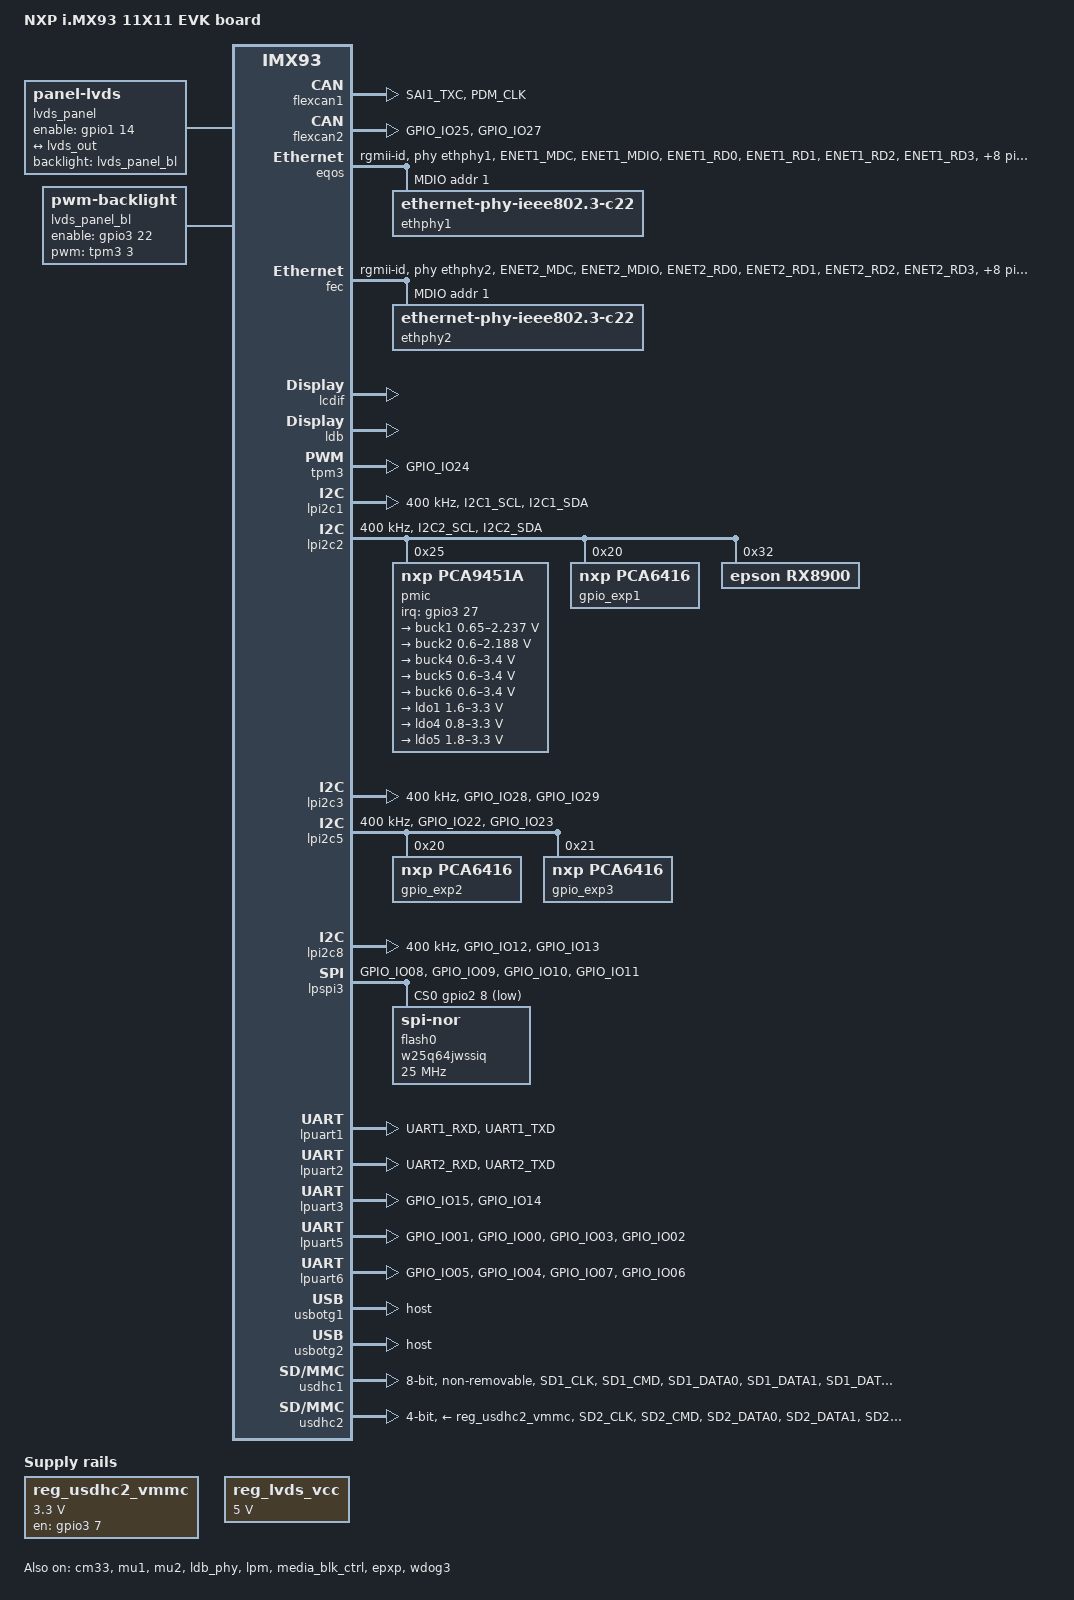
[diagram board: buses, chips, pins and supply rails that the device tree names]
// SPDX-License-Identifier: (GPL-2.0+ OR MIT)
/*
 * Copyright 2022 NXP
 */

/dts-v1/;

#include "imx93.dtsi"

&ele_fw2 {
	memory-region = <&ele_reserved>;
};

/ {

	model = "NXP i.MX93 11X11 EVK board";
	compatible = "fsl,imx93-11x11-evk", "fsl,imx93";

	aliases {
		serial0 = &lpuart1;
		serial1 = &lpuart2;
		serial2 = &lpuart3;
		serial3 = &lpuart4;
		serial4 = &lpuart5;
		serial5 = &lpuart6;
		serial6 = &lpuart7;
		serial7 = &lpuart8;

		rtc0 = &rx8900;
		rtc1 = &bbnsm_rtc;
	};

	chosen {
		stdout-path = &lpuart1;
	};

	reserved-memory {
		#address-cells = <2>;
		#size-cells = <2>;
		ranges;

		linux,cma {
			compatible = "shared-dma-pool";
			reusable;
			alloc-ranges = <0 0x80000000 0 0x40000000>;
			size = <0 0x10000000>;
			linux,cma-default;
		};

		ethosu_mem: ethosu_region@C0000000 {
			compatible = "shared-dma-pool";
			reusable;
			reg = <0x0 0xC0000000 0x0 0x10000000>;
		};

		vdev0vring0: vdev0vring0@a4000000 {
			reg = <0 0xa4000000 0 0x8000>;
			no-map;
		};

		vdev0vring1: vdev0vring1@a4008000 {
			reg = <0 0xa4008000 0 0x8000>;
			no-map;
		};

		vdev1vring0: vdev1vring0@a4010000 {
			reg = <0 0xa4010000 0 0x8000>;
			no-map;
		};

		vdev1vring1: vdev1vring1@a4018000 {
			reg = <0 0xa4018000 0 0x8000>;
			no-map;
		};

		rsc_table: rsc-table@2021e000 {
			reg = <0 0x2021e000 0 0x1000>;
			no-map;
		};

		vdevbuffer: vdevbuffer@a4020000 {
			compatible = "shared-dma-pool";
			reg = <0 0xa4020000 0 0x100000>;
			no-map;
		};

		ele_reserved: ele-reserved@a4120000 {
			compatible = "shared-dma-pool";
			reg = <0 0xa4120000 0 0x100000>;
			no-map;
		};
	};

	ethosu {
		compatible = "arm,ethosu";
		fsl,cm33-proc = <&cm33>;
		memory-region = <&ethosu_mem>;
		power-domains = <&mlmix>;
	};

	reg_usdhc2_vmmc: regulator-usdhc2 {
		compatible = "regulator-fixed";
		pinctrl-names = "default";
		pinctrl-0 = <&pinctrl_reg_usdhc2_vmmc>;
		regulator-name = "VSD_3V3";
		regulator-min-microvolt = <3300000>;
		regulator-max-microvolt = <3300000>;
		gpio = <&gpio3 7 GPIO_ACTIVE_HIGH>;
		off-on-delay-us = <12000>;
		enable-active-high;
	};

	reg_lvds_vcc: regulator-lvds {
		compatible = "regulator-fixed";
		pinctrl-names = "default";
		pinctrl-0 = <&pinctrl_lvds_vcc>, <&pinctrl_bklt_vcc>;
		regulator-name = "lvds_vcc";
		regulator-min-microvolt = <5000000>;
		regulator-max-microvolt = <5000000>;
	};

	lvds_panel {
		compatible = "panel-lvds";
		width-mm = <152>;
		height-mm = <91>;
		backlight = <&lvds_panel_bl>;
		enable-gpios = <&gpio1 14 GPIO_ACTIVE_HIGH>;
		data-mapping = "vesa-24";

		panel-timing {
			clock-frequency = <33000000>;
			hactive = <760>;
			vactive = <480>;
			hsync-len = <72>;
			hfront-porch = <24>;
			hback-porch = <96>;
			vsync-len = <7>;
			vfront-porch = <10>;
			vback-porch = <3>;
			de-active = <1>;
		};

		port {
			panel_in_lvds: endpoint {
				remote-endpoint = <&lvds_out>;
			};
		};
	};

	lvds_panel_bl: bl {
		compatible = "pwm-backlight";
		pwms = <&tpm3 3 1000000 0>;
		enable-gpios = <&gpio3 22 GPIO_ACTIVE_HIGH>;
		brightness-levels = <0 25 50 75 100>;
		default-brightness-level = <100>;
	};
};

&cm33 {
	mbox-names = "tx", "rx", "rxdb";
	mboxes = <&mu1 0 1>,
		 <&mu1 1 1>,
		 <&mu1 3 1>;
	memory-region = <&vdevbuffer>, <&vdev0vring0>, <&vdev0vring1>,
			<&vdev1vring0>, <&vdev1vring1>, <&rsc_table>;
	fsl,startup-delay-ms = <500>;
	status = "okay";
};

&flexcan1 {
	pinctrl-names = "default";
	pinctrl-0 = <&pinctrl_flexcan1>;
	status = "okay";
};

&flexcan2 {
	pinctrl-names = "default";
	pinctrl-0 = <&pinctrl_flexcan2>;
	status = "okay";
};

&mu1 {
	status = "okay";
};

&mu2 {
	status = "okay";
};

&eqos {
	pinctrl-names = "default";
	pinctrl-0 = <&pinctrl_eqos>;
	phy-mode = "rgmii-id";
	phy-handle = <&ethphy1>;
	status = "okay";

	mdio {
		compatible = "snps,dwmac-mdio";
		#address-cells = <1>;
		#size-cells = <0>;
		clock-frequency = <5000000>;

		ethphy1: ethernet-phy@1 {
			compatible = "ethernet-phy-ieee802.3-c22";
			reg = <1>;
			eee-broken-1000t;
		};
	};
};

&fec {
	pinctrl-names = "default";
	pinctrl-0 = <&pinctrl_fec>;
	phy-mode = "rgmii-id";
	phy-handle = <&ethphy2>;
	fsl,magic-packet;
	status = "okay";

	mdio {
		#address-cells = <1>;
		#size-cells = <0>;
		clock-frequency = <5000000>;

		ethphy2: ethernet-phy@2 {
			compatible = "ethernet-phy-ieee802.3-c22";
			reg = <1>;
			eee-broken-1000t;
		};
	};
};

&lcdif {
	status = "okay";
	assigned-clock-rates = <498000000>, <71142857>, <400000000>, <133333333>;
};

&ldb {
	status = "okay";

	lvds-channel@0 {
		status = "okay";

		port@1 {
			reg = <1>;
			lvds_out: endpoint {
				remote-endpoint = <&panel_in_lvds>;
			};
		};

	};
};

&ldb_phy {
	status = "okay";
};

&tpm3 {
	pinctrl-names = "default";
	pinctrl-0 = <&pinctrl_tpm3>;
	status = "okay";
};

&lpm {
	soc-supply = <&buck1>;
	status = "okay";
};

/*
 * When add, delete or change any target device setting in &lpi2c1,
 * please synchronize the changes to the &i3c1 bus in imx93-11x11-evk-i3c.dts.
 */
&lpi2c1 {
	#address-cells = <1>;
	#size-cells = <0>;
	clock-frequency = <400000>;
	pinctrl-names = "default", "sleep";
	pinctrl-0 = <&pinctrl_lpi2c1>;
	pinctrl-1 = <&pinctrl_lpi2c1>;
	status = "okay";
};

&lpi2c2 {
	#address-cells = <1>;
	#size-cells = <0>;
	clock-frequency = <400000>;
	pinctrl-names = "default", "sleep";
	pinctrl-0 = <&pinctrl_lpi2c2>;
	pinctrl-1 = <&pinctrl_lpi2c2>;
	status = "okay";

	pmic@25 {
		compatible = "nxp,pca9451a";
		reg = <0x25>;
		pinctrl-names = "default";
		pinctrl-0 = <&pinctrl_pmic>;
		interrupt-parent = <&gpio3>;
		interrupts = <27 IRQ_TYPE_LEVEL_LOW>;

		regulators {
			buck1: BUCK1 {
				regulator-name = "BUCK1";
				regulator-min-microvolt = <650000>;
				regulator-max-microvolt = <2237500>;
				regulator-boot-on;
				regulator-always-on;
				regulator-ramp-delay = <3125>;
			};

			buck2: BUCK2 {
				regulator-name = "BUCK2";
				regulator-min-microvolt = <600000>;
				regulator-max-microvolt = <2187500>;
				regulator-boot-on;
				regulator-always-on;
				regulator-ramp-delay = <3125>;
			};

			buck4: BUCK4{
				regulator-name = "BUCK4";
				regulator-min-microvolt = <600000>;
				regulator-max-microvolt = <3400000>;
				regulator-boot-on;
				regulator-always-on;
			};

			buck5: BUCK5{
				regulator-name = "BUCK5";
				regulator-min-microvolt = <600000>;
				regulator-max-microvolt = <3400000>;
				regulator-boot-on;
				regulator-always-on;
			};

			buck6: BUCK6 {
				regulator-name = "BUCK6";
				regulator-min-microvolt = <600000>;
				regulator-max-microvolt = <3400000>;
				regulator-boot-on;
				regulator-always-on;
			};

			ldo1: LDO1 {
				regulator-name = "LDO1";
				regulator-min-microvolt = <1600000>;
				regulator-max-microvolt = <3300000>;
				regulator-boot-on;
				regulator-always-on;
			};

			ldo4: LDO4 {
				regulator-name = "LDO4";
				regulator-min-microvolt = <800000>;
				regulator-max-microvolt = <3300000>;
				regulator-boot-on;
				regulator-always-on;
			};

			ldo5: LDO5 {
				regulator-name = "LDO5";
				regulator-min-microvolt = <1800000>;
				regulator-max-microvolt = <3300000>;
				regulator-boot-on;
				regulator-always-on;
			};
		};
	};

	gpio_exp1: tca9538@20 {
		compatible = "nxp,pca6416";
		reg = <0x20>;
		gpio-controller;
		#gpio-cells = <2>;
	};

	rx8900: rx8900@32 {
		compatible = "epson,rx8900";
		reg = <0x32>;
		epson,vdet-disable;
		trickle-diode-disable;
		status = "okay";
	};
};

&lpi2c3 {
	#address-cells = <1>;
	#size-cells = <0>;
	clock-frequency = <400000>;
	pinctrl-names = "default", "sleep";
	pinctrl-0 = <&pinctrl_lpi2c3>;
	pinctrl-1 = <&pinctrl_lpi2c3>;
	status = "okay";
};

&lpi2c5 {
	#address-cells = <1>;
	#size-cells = <0>;
	clock-frequency = <400000>;
	pinctrl-names = "default", "sleep";
	pinctrl-0 = <&pinctrl_lpi2c5>;
	pinctrl-1 = <&pinctrl_lpi2c5>;
	status = "okay";

	gpio_exp2: tca9538@20 {
		compatible = "nxp,pca6416";
		reg = <0x20>;
		gpio-controller;
		#gpio-cells = <2>;

		LTE_PWR_EN {
			gpio-hog;
			gpios = <0 GPIO_ACTIVE_HIGH>;
			output-high;
			line-name = "LTE_PWR_EN";
		};

		W_DISABLE1 {
			gpio-hog;
			gpios = <9 GPIO_ACTIVE_HIGH>;
			output-high;
			line-name = "W_DISABLE1";
		};
	};

	gpio_exp3: tca9538@21 {
		compatible = "nxp,pca6416";
		reg = <0x21>;
		gpio-controller;
		#gpio-cells = <2>;
	};
};

&lpi2c8 {
	#address-cells = <1>;
	#size-cells = <0>;
	clock-frequency = <400000>;
	pinctrl-names = "default", "sleep";
	pinctrl-0 = <&pinctrl_lpi2c8>;
	pinctrl-1 = <&pinctrl_lpi2c8>;
	status = "okay";
};

&lpspi3 {
	fsl,spi-num-chipselects = <1>;
	pinctrl-names = "default";
	pinctrl-0 = <&pinctrl_lpspi3>;
	pinctrl-1 = <&pinctrl_lpspi3>;
	cs-gpios = <&gpio2 8 GPIO_ACTIVE_LOW>;
	status = "okay";
	
	flash0: w25q64jwssiq@0 {
		reg = <0>;
		#address-cells = <1>;
		#size-cells = <1>;
		compatible = "jedec,spi-nor", "winbond,w25q64";
		spi-max-frequency = <25000000>;
	};
};

&lpuart1 { /* console */
	pinctrl-names = "default";
	pinctrl-0 = <&pinctrl_uart1>;
	status = "okay";
};

&lpuart2 {
	pinctrl-names = "default";
	pinctrl-0 = <&pinctrl_uart2>;
	status = "okay";
};

&lpuart3 {
	pinctrl-names = "default";
	pinctrl-0 = <&pinctrl_uart3>;
	status = "okay";
};

&lpuart5 {
	pinctrl-names = "default";
	pinctrl-0 = <&pinctrl_uart5>;
	status = "okay";
	linux,rs485-enabled-at-boot-time;
	rs485-rx-during-tx;
	rs485-rts-active-low;
	uart-has-rtscts;
};

&lpuart6 {
	pinctrl-names = "default";
	pinctrl-0 = <&pinctrl_uart6>;
	status = "okay";
	linux,rs485-enabled-at-boot-time;
	rs485-rx-during-tx;
	rs485-rts-active-low;
	uart-has-rtscts;
};

&media_blk_ctrl {
	status = "okay";
};

&usbotg1 {
	dr_mode = "host";
	hnp-disable;
	srp-disable;
	adp-disable;
	disable-over-current;
	samsung,picophy-pre-emp-curr-control = <3>;
	samsung,picophy-dc-vol-level-adjust = <7>;
	status = "okay";
};

&usbotg2 {
	dr_mode = "host";
	hnp-disable;
	srp-disable;
	adp-disable;
	disable-over-current;
	samsung,picophy-pre-emp-curr-control = <3>;
	samsung,picophy-dc-vol-level-adjust = <7>;
	status = "okay";
};

&usdhc1 {
	pinctrl-names = "default", "state_100mhz", "state_200mhz";
	pinctrl-0 = <&pinctrl_usdhc1>;
	pinctrl-1 = <&pinctrl_usdhc1>;
	pinctrl-2 = <&pinctrl_usdhc1>;
	bus-width = <8>;
	non-removable;
	status = "okay";
};

&usdhc2 {
	pinctrl-names = "default", "state_100mhz", "state_200mhz";
	pinctrl-0 = <&pinctrl_usdhc2>, <&pinctrl_usdhc2_gpio>;
	pinctrl-1 = <&pinctrl_usdhc2>, <&pinctrl_usdhc2_gpio>;
	pinctrl-2 = <&pinctrl_usdhc2>, <&pinctrl_usdhc2_gpio>;
	cd-gpios = <&gpio3 00 GPIO_ACTIVE_LOW>;
	vmmc-supply = <&reg_usdhc2_vmmc>;
	bus-width = <4>;
	status = "okay";
	no-sdio;
	no-mmc;
};

&iomuxc {
	pinctrl_eqos: eqosgrp {
		fsl,pins = <
			MX93_PAD_ENET1_MDC__ENET_QOS_MDC			0x57e
			MX93_PAD_ENET1_MDIO__ENET_QOS_MDIO			0x57e
			MX93_PAD_ENET1_RD0__ENET_QOS_RGMII_RD0			0x57e
			MX93_PAD_ENET1_RD1__ENET_QOS_RGMII_RD1			0x57e
			MX93_PAD_ENET1_RD2__ENET_QOS_RGMII_RD2			0x57e
			MX93_PAD_ENET1_RD3__ENET_QOS_RGMII_RD3			0x57e
			MX93_PAD_ENET1_RXC__CCM_ENET_QOS_CLOCK_GENERATE_RX_CLK	0x58e
			MX93_PAD_ENET1_RX_CTL__ENET_QOS_RGMII_RX_CTL		0x57e
			MX93_PAD_ENET1_TD0__ENET_QOS_RGMII_TD0			0x57e
			MX93_PAD_ENET1_TD1__ENET_QOS_RGMII_TD1			0x57e
			MX93_PAD_ENET1_TD2__ENET_QOS_RGMII_TD2			0x57e
			MX93_PAD_ENET1_TD3__ENET_QOS_RGMII_TD3			0x57e
			MX93_PAD_ENET1_TXC__CCM_ENET_QOS_CLOCK_GENERATE_TX_CLK	0x58e
			MX93_PAD_ENET1_TX_CTL__ENET_QOS_RGMII_TX_CTL		0x57e
		>;
	};

	pinctrl_fec: fecgrp {
		fsl,pins = <
			MX93_PAD_ENET2_MDC__ENET1_MDC			0x57e
			MX93_PAD_ENET2_MDIO__ENET1_MDIO			0x57e
			MX93_PAD_ENET2_RD0__ENET1_RGMII_RD0		0x57e
			MX93_PAD_ENET2_RD1__ENET1_RGMII_RD1		0x57e
			MX93_PAD_ENET2_RD2__ENET1_RGMII_RD2		0x57e
			MX93_PAD_ENET2_RD3__ENET1_RGMII_RD3		0x57e
			MX93_PAD_ENET2_RXC__ENET1_RGMII_RXC		0x58e
			MX93_PAD_ENET2_RX_CTL__ENET1_RGMII_RX_CTL	0x57e
			MX93_PAD_ENET2_TD0__ENET1_RGMII_TD0		0x57e
			MX93_PAD_ENET2_TD1__ENET1_RGMII_TD1		0x57e
			MX93_PAD_ENET2_TD2__ENET1_RGMII_TD2		0x57e
			MX93_PAD_ENET2_TD3__ENET1_RGMII_TD3		0x57e
			MX93_PAD_ENET2_TXC__ENET1_RGMII_TXC		0x58e
			MX93_PAD_ENET2_TX_CTL__ENET1_RGMII_TX_CTL	0x57e
		>;
	};

	pinctrl_flexcan1: flexcan1grp {
		fsl,pins = <
			MX93_PAD_SAI1_TXC__CAN1_RX 0x139e
			MX93_PAD_PDM_CLK__CAN1_TX 0x139e
		>;
	};

	pinctrl_flexcan2: flexcan2grp {
		fsl,pins = <
			MX93_PAD_GPIO_IO25__CAN2_TX	0x139e
			MX93_PAD_GPIO_IO27__CAN2_RX	0x139e
		>;
	};

	pinctrl_lpi2c1: lpi2c1grp {
		fsl,pins = <
			MX93_PAD_I2C1_SCL__LPI2C1_SCL			0x40000b9e
			MX93_PAD_I2C1_SDA__LPI2C1_SDA			0x40000b9e
		>;
	};

	pinctrl_lpi2c2: lpi2c2grp {
		fsl,pins = <
			MX93_PAD_I2C2_SCL__LPI2C2_SCL			0x40000b9e
			MX93_PAD_I2C2_SDA__LPI2C2_SDA			0x40000b9e
		>;
	};

	pinctrl_lpi2c3: lpi2c3grp {
		fsl,pins = <
			MX93_PAD_GPIO_IO28__LPI2C3_SDA			0x40000b9e
			MX93_PAD_GPIO_IO29__LPI2C3_SCL			0x40000b9e
		>;
	};

	pinctrl_lpi2c5: lpi2c5grp {
		fsl,pins = <
			MX93_PAD_GPIO_IO22__LPI2C5_SDA			0x40000b9e
			MX93_PAD_GPIO_IO23__LPI2C5_SCL			0x40000b9e
		>;
	};

	pinctrl_lpi2c8: lpi2c8grp {
		fsl,pins = <
			MX93_PAD_GPIO_IO12__LPI2C8_SDA			0x40000b9e
			MX93_PAD_GPIO_IO13__LPI2C8_SCL			0x40000b9e
		>;
	};

	pinctrl_uart1: uart1grp {
		fsl,pins = <
			MX93_PAD_UART1_RXD__LPUART1_RX			0x31e
			MX93_PAD_UART1_TXD__LPUART1_TX			0x31e
		>;
	};

	pinctrl_uart2: uart2grp {
		fsl,pins = <
			MX93_PAD_UART2_RXD__LPUART2_RX			0x31e
			MX93_PAD_UART2_TXD__LPUART2_TX			0x31e
		>;
	};

	pinctrl_uart3: uart3grp {
		fsl,pins = <
			MX93_PAD_GPIO_IO15__LPUART3_RX			0x31e
			MX93_PAD_GPIO_IO14__LPUART3_TX			0x31e
		>;
	};

	pinctrl_uart5: uart5grp {
		fsl,pins = <
			MX93_PAD_GPIO_IO01__LPUART5_RX		0x31e
			MX93_PAD_GPIO_IO00__LPUART5_TX		0x31e
			MX93_PAD_GPIO_IO03__LPUART5_RTS_B	0x31e
			MX93_PAD_GPIO_IO02__LPUART5_CTS_B	0x31e
		>;
	};

	pinctrl_uart6: uart6grp {
		fsl,pins = <
			MX93_PAD_GPIO_IO05__LPUART6_RX		0x31e
			MX93_PAD_GPIO_IO04__LPUART6_TX		0x31e
			MX93_PAD_GPIO_IO07__LPUART6_RTS_B	0x31e
			MX93_PAD_GPIO_IO06__LPUART6_CTS_B	0x31e
		>;
	};

	pinctrl_usb_en: usbengrp {
		fsl,pins = <
			MX93_PAD_PDM_BIT_STREAM1__GPIO1_IO10	0x31e
		>;
	};

	/* need to config the SION for data and cmd pad, refer to ERR052021 */
	pinctrl_usdhc1: usdhc1grp {
		fsl,pins = <
			MX93_PAD_SD1_CLK__USDHC1_CLK		0x15fe
			MX93_PAD_SD1_CMD__USDHC1_CMD		0x13fe
			MX93_PAD_SD1_DATA0__USDHC1_DATA0	0x13fe
			MX93_PAD_SD1_DATA1__USDHC1_DATA1	0x13fe
			MX93_PAD_SD1_DATA2__USDHC1_DATA2	0x13fe
			MX93_PAD_SD1_DATA3__USDHC1_DATA3	0x13fe
			MX93_PAD_SD1_DATA4__USDHC1_DATA4	0x13fe
			MX93_PAD_SD1_DATA5__USDHC1_DATA5	0x13fe
			MX93_PAD_SD1_DATA6__USDHC1_DATA6	0x13fe
			MX93_PAD_SD1_DATA7__USDHC1_DATA7	0x13fe
			MX93_PAD_SD1_STROBE__USDHC1_STROBE	0x15fe
		>;
	};

	pinctrl_reg_usdhc2_vmmc: regusdhc2vmmcgrp {
		fsl,pins = <
			MX93_PAD_SD2_RESET_B__GPIO3_IO07	0x31e
		>;
	};

	pinctrl_usdhc2_gpio: usdhc2gpiogrp {
		fsl,pins = <
			MX93_PAD_SD2_CD_B__GPIO3_IO00		0x31e
		>;
	};

	/* need to config the SION for data and cmd pad, refer to ERR052021 */
	pinctrl_usdhc2: usdhc2grp {
		fsl,pins = <
			MX93_PAD_SD2_CLK__USDHC2_CLK		0x15fe
			MX93_PAD_SD2_CMD__USDHC2_CMD		0x13fe
			MX93_PAD_SD2_DATA0__USDHC2_DATA0	0x13fe
			MX93_PAD_SD2_DATA1__USDHC2_DATA1	0x13fe
			MX93_PAD_SD2_DATA2__USDHC2_DATA2	0x13fe
			MX93_PAD_SD2_DATA3__USDHC2_DATA3	0x13fe
			MX93_PAD_SD2_VSELECT__USDHC2_VSELECT	0x51e
		>;
	};

	pinctrl_pmic: pmicgrp {
		fsl,pins = <
			MX93_PAD_CCM_CLKO2__CCMSRCGPCMIX_CLKO2		0x31e
		>;
	};

	pinctrl_lpspi3: lpspi3grp {
		fsl,pins = <
			MX93_PAD_GPIO_IO08__GPIO2_IO08		0x3fe
			MX93_PAD_GPIO_IO09__LPSPI3_SIN		0x3fe
			MX93_PAD_GPIO_IO10__LPSPI3_SOUT		0x3fe
			MX93_PAD_GPIO_IO11__LPSPI3_SCK		0x3fe
		>;
	};

	pinctrl_tpm3: tpm3grp {
		fsl,pins = <
			MX93_PAD_GPIO_IO24__TPM3_CH3		0x19e
		>;
	};

	pinctrl_lvds_vcc: lvds_vcc_grp {
		fsl,pins = <
			MX93_PAD_SAI1_RXD0__GPIO1_IO14		0x31e
		>;
	};

	pinctrl_bklt_vcc: bklt_vcc_grp {
		fsl,pins = <
			MX93_PAD_SD3_DATA0__GPIO3_IO22		0x31e
		>;
	};
};

&epxp {
	status = "okay";
};

/* 20250714.adv: removed (Yocto 5.1)
&cameradev {
	status = "okay";
};

&isi_0 {
	status = "okay";

	cap_device {
		status = "okay";
	};
};
*/

&wdog3 {
	status = "okay";
};
